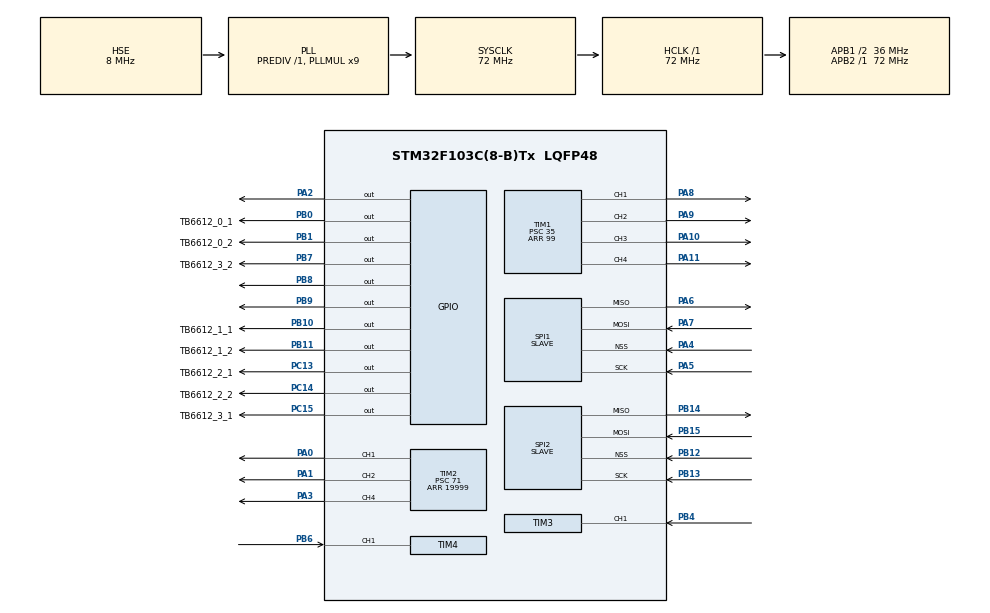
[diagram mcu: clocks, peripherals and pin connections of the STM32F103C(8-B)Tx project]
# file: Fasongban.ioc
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Mcu.Family=STM32F1
Mcu.Name=STM32F103C(8-B)Tx
Mcu.Package=LQFP48
NVIC.PriorityGroup=NVIC_PRIORITYGROUP_4
NVIC.SPI1_IRQn=true\:1\:0\:true\:false\:true\:true\:true\:true
NVIC.SPI2_IRQn=true\:1\:0\:true\:false\:true\:true\:true\:true
PA0-WKUP.Signal=S_TIM2_CH1_ETR
PA1.Signal=S_TIM2_CH2
PA10.Signal=S_TIM1_CH3
PA11.Signal=S_TIM1_CH4
PA13.Mode=Serial_Wire
PA13.Signal=SYS_JTMS-SWDIO
PA14.Mode=Serial_Wire
PA14.Signal=SYS_JTCK-SWCLK
PA2.GPIO_Speed=GPIO_SPEED_FREQ_HIGH
PA2.PinState=GPIO_PIN_RESET
PA2.Signal=GPIO_Output
PA3.Signal=S_TIM2_CH4
PA4.Mode=NSS_Signal_Hard_Input
PA4.Signal=SPI1_NSS
PA5.Mode=Full_Duplex_Slave
PA5.Signal=SPI1_SCK
PA6.Mode=Full_Duplex_Slave
PA6.Signal=SPI1_MISO
PA7.Mode=Full_Duplex_Slave
PA7.Signal=SPI1_MOSI
PA8.Signal=S_TIM1_CH1
PA9.Signal=S_TIM1_CH2
PB0.GPIO_Label=TB6612_0_1
PB0.GPIO_Speed=GPIO_SPEED_FREQ_HIGH
PB0.Signal=GPIO_Output
PB1.GPIO_Label=TB6612_0_2
PB1.GPIO_Speed=GPIO_SPEED_FREQ_HIGH
PB1.Signal=GPIO_Output
PB10.GPIO_Label=TB6612_1_1
PB10.GPIO_Speed=GPIO_SPEED_FREQ_HIGH
PB10.Signal=GPIO_Output
PB11.GPIO_Label=TB6612_1_2
PB11.GPIO_Speed=GPIO_SPEED_FREQ_HIGH
PB11.Signal=GPIO_Output
PB12.Mode=NSS_Signal_Hard_Input
PB12.Signal=SPI2_NSS
PB13.Mode=Full_Duplex_Slave
PB13.Signal=SPI2_SCK
PB14.Mode=Full_Duplex_Slave
PB14.Signal=SPI2_MISO
PB15.Mode=Full_Duplex_Slave
PB15.Signal=SPI2_MOSI
PB4.Signal=S_TIM3_CH1
PB6.Signal=S_TIM4_CH1
PB7.GPIO_Label=TB6612_3_2
PB7.GPIO_Speed=GPIO_SPEED_FREQ_HIGH
PB7.Signal=GPIO_Output
PB8.Signal=GPIO_Output
PB9.GPIO_ModeDefaultOutputPP=GPIO_MODE_OUTPUT_OD
PB9.GPIO_PuPd=GPIO_NOPULL
PB9.GPIO_Speed=GPIO_SPEED_FREQ_HIGH
PB9.PinState=GPIO_PIN_SET
PB9.Signal=GPIO_Output
PC13-TAMPER-RTC.GPIO_Label=TB6612_2_1
PC13-TAMPER-RTC.GPIO_Speed=GPIO_SPEED_FREQ_HIGH
PC13-TAMPER-RTC.Signal=GPIO_Output
PC14-OSC32_IN.GPIO_Label=TB6612_2_2
PC14-OSC32_IN.GPIO_Speed=GPIO_SPEED_FREQ_HIGH
PC14-OSC32_IN.Signal=GPIO_Output
PC15-OSC32_OUT.GPIO_Label=TB6612_3_1
PC15-OSC32_OUT.GPIO_Speed=GPIO_SPEED_FREQ_HIGH
PC15-OSC32_OUT.Signal=GPIO_Output
PD0-OSC_IN.Mode=HSE-External-Oscillator
PD0-OSC_IN.Signal=RCC_OSC_IN
PD1-OSC_OUT.Mode=HSE-External-Oscillator
PD1-OSC_OUT.Signal=RCC_OSC_OUT
ProjectManager.HeapSize=0x200
ProjectManager.StackSize=0x400
ProjectManager.TargetToolchain=MDK-ARM V5.32
RCC.AHBFreq_Value=72000000
RCC.APB1CLKDivider=RCC_HCLK_DIV2
RCC.APB1Freq_Value=36000000
RCC.APB1TimFreq_Value=72000000
RCC.APB2Freq_Value=72000000
RCC.APB2TimFreq_Value=72000000
RCC.HCLKFreq_Value=72000000
RCC.PLLMUL=RCC_PLL_MUL9
RCC.PLLSourceVirtual=RCC_PLLSOURCE_HSE
RCC.SYSCLKFreq_VALUE=72000000
RCC.SYSCLKSource=RCC_SYSCLKSOURCE_PLLCLK
RCC.USBFreq_Value=72000000
SH.S_TIM1_CH1.0=TIM1_CH1,PWM Generation1 CH1
SH.S_TIM1_CH2.0=TIM1_CH2,PWM Generation2 CH2
SH.S_TIM1_CH3.0=TIM1_CH3,PWM Generation3 CH3
SH.S_TIM1_CH4.0=TIM1_CH4,PWM Generation4 CH4
SH.S_TIM2_CH1_ETR.0=TIM2_CH1,PWM Generation1 CH1
SH.S_TIM2_CH2.0=TIM2_CH2,PWM Generation2 CH2
SH.S_TIM2_CH4.0=TIM2_CH4,PWM Generation4 CH4
SH.S_TIM3_CH1.0=TIM3_CH1,PWM_Input_1
SH.S_TIM4_CH1.0=TIM4_CH1,PWM_Input_1
SPI1.CLKPhase=SPI_PHASE_1EDGE
SPI1.CLKPolarity=SPI_POLARITY_LOW
SPI1.CRCCalculation=SPI_CRCCALCULATION_DISABLE
SPI1.Direction=SPI_DIRECTION_2LINES
SPI1.Mode=SPI_MODE_SLAVE
SPI1.VirtualNSS=VM_NSSHARD
SPI1.VirtualType=VM_SLAVE
SPI2.Direction=SPI_DIRECTION_2LINES
SPI2.Mode=SPI_MODE_SLAVE
SPI2.VirtualNSS=VM_NSSHARD
SPI2.VirtualType=VM_SLAVE
TIM1.Channel-PWM\ Generation1\ CH1=TIM_CHANNEL_1
TIM1.Channel-PWM\ Generation2\ CH2=TIM_CHANNEL_2
TIM1.Channel-PWM\ Generation3\ CH3=TIM_CHANNEL_3
TIM1.Channel-PWM\ Generation4\ CH4=TIM_CHANNEL_4
TIM1.Period=99
TIM1.Prescaler=35
TIM2.Channel-PWM\ Generation1\ CH1=TIM_CHANNEL_1
TIM2.Channel-PWM\ Generation2\ CH2=TIM_CHANNEL_2
TIM2.Channel-PWM\ Generation4\ CH4=TIM_CHANNEL_4
TIM2.Period=19999
TIM2.Prescaler=71
TIM3.Period=19999
TIM3.Prescaler=71
TIM4.Period=1999
TIM4.Prescaler=71
VP_TIM3_VS_ClockSourceINT.Mode=Internal
VP_TIM4_VS_ClockSourceINT.Mode=Internal
board=custom

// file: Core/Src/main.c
/* USER CODE BEGIN Header */
/**
  ******************************************************************************
  * @file           : main.c
  * @brief          : Main program body
  ******************************************************************************
  * @attention
  *
  * Copyright (c) 2025 STMicroelectronics.
  * All rights reserved.
  *
  * This software is licensed under terms that can be found in the LICENSE file
  * in the root directory of this software component.
  * If no LICENSE file comes with this software, it is provided AS-IS.
  *
  ******************************************************************************
  */
/* USER CODE END Header */
#include "main.h"
#include "spi.h"
#include "tim.h"
#include "gpio.h"

/* USER CODE BEGIN Includes */
#include "OLED.h"
#include"spi_slave.h"
#include "icx.h"
#include "changecaculate.h"
#include "pwm6.h"
#include "motor.h"
#include "chassis.h"
#include "robot_config.h"
#include "rc_process.h"
#include "gimbal.h"
#include "fire.h"
uint8_t d0 = 0, d1 = 0, d2 = 0, d3 = 0; // 由 SPI1 更新
uint8_t d4 = 0, d5 = 0;  // 由 ICX_GetDuty(&ic3/4) 更新
uint8_t k0 = 0, k1, k2, k3;//SPI2收到的数据
ICX_Handle  ic3, ic4;
SPI_SlaveCtx spi1_ctx, spi2_ctx;
//int16_t AngleSpeedOfReel_Origianl0, AngleSpeedOfReel_Origianl1, AngleSpeedOfReel_Origianl2, AngleSpeedOfReel_Origianl3;
//int16_t RealReelSpeed0, RealReelSpeed1, RealReelSpeed2, RealReelSpeed3;
const uint32_t TICK_HZ = 1000000UL;

extern int wheel_target[4];
extern int wheel_speed[4];
extern RC_Ctrl_t rc;
/* USER CODE END Includes */

void SystemClock_Config(void);

int main(void)
{

  /* MCU Configuration--------------------------------------------------------*/

  /* Reset of all peripherals, Initializes the Flash interface and the Systick. */
  HAL_Init();

  /* Configure the system clock */
  SystemClock_Config();

  /* Initialize all configured peripherals */
  MX_GPIO_Init();
  MX_SPI1_Init();
  MX_TIM3_Init();
  MX_TIM4_Init();
  MX_SPI2_Init();
  MX_TIM1_Init();
  MX_TIM2_Init();
  /* USER CODE BEGIN 2 */
  OLED_Init();
  PWM6_Init();
  PWM6_StartAll();
  SPI_Slave_InitAndStart_IT(&spi1_ctx, &hspi1, SPI_Slave_FrameLen6);
  SPI_Slave_InitAndStart_IT(&spi2_ctx, &hspi2, SPI_Slave_FrameLen6);

  ICX_Attach(&ic3, &htim3, TIM_CHANNEL_1, TICK_HZ);
  ICX_Start(&ic3);
  ICX_Attach(&ic4, &htim4, TIM_CHANNEL_1, TICK_HZ);
  ICX_Start(&ic4);

  Chassis_PID_Init();
  Fire_Init();

  Gimbal_Init();
  // PWM6_SetDutyPercent(5, 5); // 控制舵机1
  // PWM6_SetDutyPercent(6, 5);
  /* USER CODE END 2 */

  /* Infinite loop */
  while (1) {

    /* USER CODE BEGIN 3 */
    Fire_ControlLoop();

    // 更新SPI1遥控器4通道
    SPI_Slave_TryGet4U8(&spi1_ctx, &d0, &d1, &d2, &d3);

    // 更新开关量 d4, d5
    d4 = ICX_GetDuty(&ic3);
    d5 = ICX_GetDuty(&ic4);

    // 运行你的底盘控制逻辑
    Chassis_ControlLoop();
    // 运行云台控制逻辑
    Gimbal_ControlLoop();

    //  OLED 调试显示  !!!OLED显示频繁会影响控制周期，若调试出现问题请注释掉!!!

    // OLED_ShowString(1,1,"Tar:",OLED_6X8);
    // OLED_ShowSignedNum(1, 9, (int)wheel_target[0], 20, OLED_6X8);
    // OLED_ShowSignedNum(1, 17, (int)wheel_target[1], 20, OLED_6X8);
    // OLED_ShowSignedNum(1, 25, (int)wheel_target[2], 20, OLED_6X8);
    // OLED_ShowSignedNum(1, 33, (int)wheel_target[3], 20, OLED_6X8);

    // OLED_ShowString(35,1,"Spe:",OLED_6X8);
    // OLED_ShowSignedNum(35, 9, wheel_speed[0], 4, OLED_6X8);
    // OLED_ShowSignedNum(35, 17, wheel_speed[1], 4, OLED_6X8);
    // OLED_ShowSignedNum(35, 25, wheel_speed[2], 4, OLED_6X8);
    // OLED_ShowSignedNum(35, 33, wheel_speed[3], 4, OLED_6X8);
    // OLED_Update();
    // OLED_ShowString(70,1,"vxvy:",OLED_6X8);
    // OLED_ShowSignedNum(70, 9, (int)rc.vx, 4, OLED_6X8);
    // OLED_ShowSignedNum(70, 17, (int)rc.vy, 4, OLED_6X8);
    // OLED_ShowSignedNum(70, 25, (int)rc.omega, 4, OLED_6X8);

    HAL_Delay(5); // 5ms 控制周期（200Hz）
  }
  /* USER CODE END 3 */
}

void SystemClock_Config(void)
{
  RCC_OscInitTypeDef RCC_OscInitStruct = {0};
  RCC_ClkInitTypeDef RCC_ClkInitStruct = {0};

  /** Initializes the RCC Oscillators according to the specified parameters
  * in the RCC_OscInitTypeDef structure.
  */
  RCC_OscInitStruct.OscillatorType = RCC_OSCILLATORTYPE_HSE;
  RCC_OscInitStruct.HSEState = RCC_HSE_ON;
  RCC_OscInitStruct.HSEPredivValue = RCC_HSE_PREDIV_DIV1;
  RCC_OscInitStruct.HSIState = RCC_HSI_ON;
  RCC_OscInitStruct.PLL.PLLState = RCC_PLL_ON;
  RCC_OscInitStruct.PLL.PLLSource = RCC_PLLSOURCE_HSE;
  RCC_OscInitStruct.PLL.PLLMUL = RCC_PLL_MUL9;
  if (HAL_RCC_OscConfig(&RCC_OscInitStruct) != HAL_OK)
  {
    Error_Handler();
  }

  /** Initializes the CPU, AHB and APB buses clocks
  */
  RCC_ClkInitStruct.ClockType = RCC_CLOCKTYPE_HCLK|RCC_CLOCKTYPE_SYSCLK
                              |RCC_CLOCKTYPE_PCLK1|RCC_CLOCKTYPE_PCLK2;
  RCC_ClkInitStruct.SYSCLKSource = RCC_SYSCLKSOURCE_PLLCLK;
  RCC_ClkInitStruct.AHBCLKDivider = RCC_SYSCLK_DIV1;
  RCC_ClkInitStruct.APB1CLKDivider = RCC_HCLK_DIV2;
  RCC_ClkInitStruct.APB2CLKDivider = RCC_HCLK_DIV1;

  if (HAL_RCC_ClockConfig(&RCC_ClkInitStruct, FLASH_LATENCY_2) != HAL_OK)
  {
    Error_Handler();
  }
}

void Error_Handler(void)
{
  __disable_irq();
  while (1)
  {
  }
}
